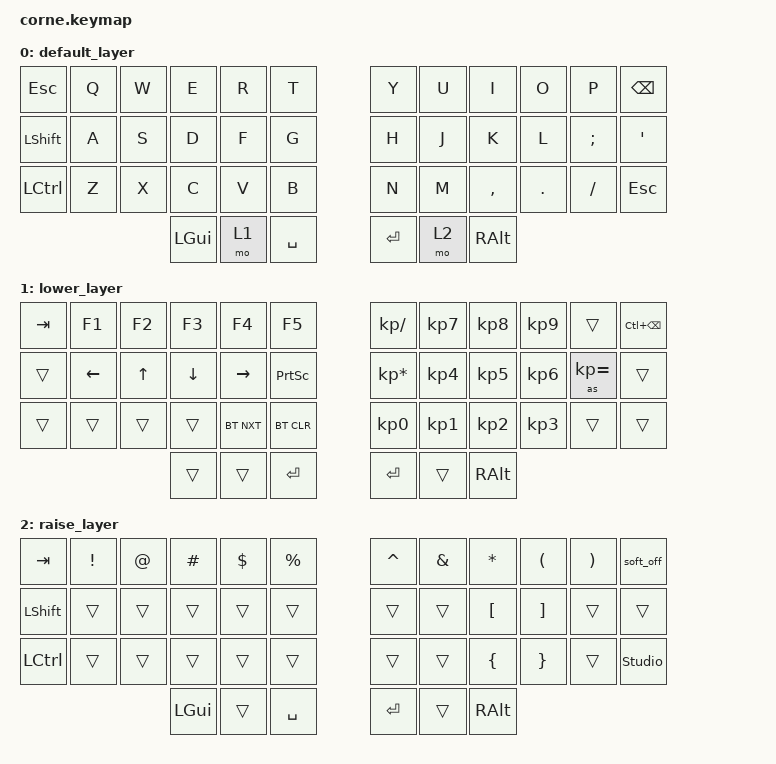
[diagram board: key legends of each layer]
/*
 * Copyright (c) 2020 The ZMK Contributors
 *
 * SPDX-License-Identifier: MIT
 */

#include <behaviors.dtsi>
#include <dt-bindings/zmk/keys.h>
#include <dt-bindings/zmk/bt.h>

/ {
    combos {
        compatible = "zmk,combos";

        caps {
            bindings = <&kp CAPSLOCK>;
            key-positions = <0 1>;
        };
    };

    macros {
        shift: shift {
            compatible = "zmk,behavior-macro-one-param";
            #binding-cells = <1>;
            bindings =
                <&macro_press>,
                <&kp LEFT_SHIFT>,
                <&macro_tap>,
                <&macro_param_1to1 &kp MACRO_PLACEHOLDER>,
                <&macro_release>,
                <&kp LEFT_SHIFT>;

            label = "SHIFT";
        };

        as: as {
            compatible = "zmk,behavior-macro-one-param";
            #binding-cells = <1>;
            bindings =
                <&macro_press>,
                <&macro_param_1to1 &macro_param_1to2 &as_ht MACRO_PLACEHOLDER MACRO_PLACEHOLDER>,
                <&macro_pause_for_release>,
                <&macro_release>,
                <&macro_param_1to1 &macro_param_1to2 &as_ht MACRO_PLACEHOLDER MACRO_PLACEHOLDER>;

            label = "AS";
        };

        degree: degree {
            compatible = "zmk,behavior-macro";
            #binding-cells = <0>;
            bindings =
                <&macro_press>,
                <&kp LEFT_ALT>,
                <&macro_tap>,
                <&kp KP_NUMBER_0 &kp KP_NUMBER_1 &kp KP_NUMBER_7 &kp KP_N6>,
                <&macro_release>,
                <&kp LEFT_ALT>;

            label = "DEGREE";
        };

        diameter: diameter {
            compatible = "zmk,behavior-macro";
            #binding-cells = <0>;
            bindings =
                <&macro_press>,
                <&kp LEFT_ALT>,
                <&macro_press>,
                <&kp KP_NUMBER_0 &kp KP_N2 &kp KP_NUMBER_1 &kp KP_N6>,
                <&macro_release>,
                <&kp LEFT_ALT>;

            label = "DIAMETER";
        };
    };

    behaviors {
        as_ht: autoshift_hold_tap {
            compatible = "zmk,behavior-hold-tap";
            label = "AUTOSHIFT_HOLD_TAP";
            bindings = <&shift>, <&kp>;

            #binding-cells = <2>;
            tapping-term-ms = <180>;
            flavor = "tap-preferred";
        };
    };

    keymap {
        compatible = "zmk,keymap";

        default_layer {
            // -----------------------------------------------------------------------------------------
            // |  TAB |  Q  |  W  |  E  |  R  |  T  |   |  Y  |  U   |  I  |  O  |  P  | BSPC |
            // | SHFT |  A  |  S  |  D  |  F  |  G  |   |  H  |  J   |  K  |  L  |  ;  |  '   |
            // | CTRL |  Z  |  X  |  C  |  V  |  B  |   |  N  |  M   |  ,  |  .  |  /  | ESC  |
            //                    | GUI | LWR | SPC |   | ENT | RSE  | ALT |

            bindings = <
&kp ESCAPE          &kp Q  &kp W  &kp E     &kp R  &kp T        &kp Y    &kp U  &kp I      &kp O    &kp P          &kp BSPC
&kp LSHFT    &kp A  &kp S  &kp D     &kp F  &kp G        &kp H    &kp J  &kp K      &kp L    &kp SEMICOLON  &kp SQT
&kp LCTRL      &kp Z  &kp X  &kp C     &kp V  &kp B        &kp N    &kp M  &kp COMMA  &kp DOT  &kp FSLH       &kp ESC
                                &kp LGUI  &mo 1  &kp SPACE    &kp RET  &mo 2  &kp RALT
            >;
        };

        lower_layer {
            // -----------------------------------------------------------------------------------------
            // |  TAB |  1  |  2  |  3  |  4  |  5  |   |  6  |  7  |  8  |  9  |  0  | BSPC |
            // | BTCLR| BT1 | BT2 | BT3 | BT4 | BT5 |   | LFT | DWN |  UP | RGT |     |      |
            // | CTRL |     |     |     |     |     |   |     |     |     |     |     |      |
            //                    | GUI |     | SPC |   | ENT |     | ALT |

            bindings = <
&kp TAB  &kp F1    &kp F2        &kp F3          &kp F4     &kp F5             &kp KP_DIVIDE    &kp KP_N7        &kp KP_N8        &kp KP_N9  &trans        &kp LC(BSPC)
&trans   &kp LEFT  &kp UP_ARROW  &kp DOWN_ARROW  &kp RIGHT  &kp PRINTSCREEN    &kp KP_MULTIPLY  &kp KP_NUMBER_4  &kp KP_NUMBER_5  &kp KP_N6  &as KP_EQUAL  &trans
&trans   &trans    &trans        &trans          &bt BT_NXT &bt BT_CLR         &kp KP_N0        &kp KP_NUMBER_1  &kp KP_N2        &kp KP_N3  &trans        &trans
                                 &trans          &trans     &kp ENTER          &kp RET          &trans           &kp RALT
            >;
        };

        raise_layer {
            // -----------------------------------------------------------------------------------------
            // |  TAB |  !  |  @  |  #  |  $  |  %  |   |  ^  |  &  |  *  |  (  |  )  | BSPC |
            // | SHFT |     |     |     |     |     |   |  -  |  =  |  [  |  ]  |  \  |  `   |
            // | CTRL |     |     |     |     |     |   |  _  |  +  |  {  |  }  | "|" |  ~   |
            //                    | GUI |     | SPC |   | ENT |     | ALT |

            bindings = <
&kp TAB    &kp EXCL  &kp AT  &kp HASH  &kp DLLR  &kp PRCNT    &kp CARET  &kp AMPS  &kp ASTRK  &kp LPAR  &kp RPAR  &soft_off
&kp LSHFT  &trans    &trans  &trans    &trans    &trans       &trans     &trans    &kp LBKT   &kp RBKT  &trans    &trans
&kp LCTRL &trans    &trans  &trans    &trans    &trans       &trans     &trans    &kp LBRC   &kp RBRC  &trans    &studio_unlock
                             &kp LGUI  &trans    &kp SPACE    &kp RET    &trans    &kp RALT
            >;
        };
    };
};
